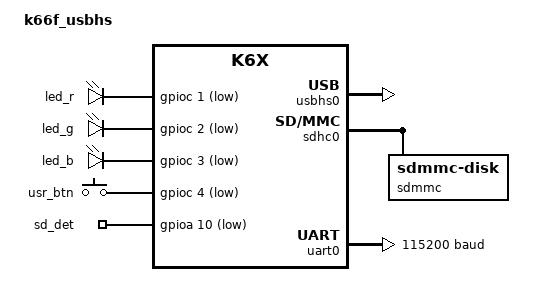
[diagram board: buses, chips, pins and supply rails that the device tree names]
/dts-v1/;

#include <nxp/nxp_k66.dtsi>
#include "k66f_usbhs-pinctrl.dtsi"

/ {
    model = "k66f_usbhs";
    compatible = "nxp,mk66f18", "nxp,k66f", "nxp,k6x";

    chosen {
        zephyr,sram = &sram0;
        zephyr,flash = &flash0;
        zephyr,code-partition = &slot0_partition;
        zephyr,console = &uart0;
    };

    aliases {
        led0 = &led_r;
        led1 = &led_g;
        led2 = &led_b;
        sw0 = &usr_btn;
        mcuboot-led0 = &led_b;
        mcuboot-button0 = &usr_btn;
    };

    leds {
        compatible = "gpio-leds";
        led_r: led_r { gpios = <&gpioc 1 GPIO_ACTIVE_LOW>; };
        led_g: led_g { gpios = <&gpioc 2 GPIO_ACTIVE_LOW>; };
        led_b: led_b { gpios = <&gpioc 3 GPIO_ACTIVE_LOW>; };
    };

    buttons {
        compatible = "gpio-keys";
        usr_btn: usr_btn { gpios = <&gpioc 4  (GPIO_ACTIVE_LOW | GPIO_PULL_UP)>; };
        sd_det:  sd_det  { gpios = <&gpioa 10 (GPIO_ACTIVE_LOW | GPIO_PULL_UP)>; };
    };

    // additions to make USB HS work
    usbclk: usbpll-clock {
        compatible = "fixed-clock";
        clock-frequency = <480000000>;
        #clock-cells = <0>;
    };

    soc {
        usbhs0: usbd@400a1000 { // TODO use usbphy and udc driver added in 3.7.0
            compatible = "nxp,ehci";
            reg = <0x400a1000 0x200>;
            interrupts = <93 1>; // USBHS_IRQn
            interrupt-names = "usb_otg";
            clocks = <&usbclk>;
            num-bidir-endpoints = <8>;
            status = "disabled";
        };

        sdhc0: sdhc@400b1000 {
            compatible = "nxp,mcux-sdhc";
            reg = <0x400b1000 0x100>;
            interrupts = <81 0>; // SDHC_IRQn
            clocks = <&sim KINETIS_SIM_CORESYS_CLK 0x1030 17>; // kCLOCK_Sdhc0
            max-bus-freq = <50000000>;
            status = "disabled";
        };
    };
};

&sim {
    pllfll-select = <KINETIS_SIM_PLLFLLSEL_MCGPLLCLK>;
    er32k-select = <KINETIS_SIM_ER32KSEL_RTC>;
    core_clk    { clock-div = <1>; }; // max 180MHz
    bus_clk     { clock-div = <3>; }; // max 60MHz
    flexbus_clk { clock-div = <3>; }; // max 60MHz
    flash_clk   { clock-div = <7>; }; // max 28MHz
};

&flash0 {
    partitions {
        compatible = "fixed-partitions";
        #address-cells = <1>;
        #size-cells = <1>;

        boot_partition: partition@0 {
            label = "mcuboot";
            reg = <0x00000000 0x00010000>; // 64KiB
            read-only;
        };
        slot0_partition: partition@10000 {
            label = "image-0";
            reg = <0x00010000 0x001f0000>; // 1984KiB
        };
    };
};

&gpioa {
    status = "okay";
};

&gpioc {
    status = "okay";
};

&gpioe {
    status = "okay";
};

&uart0 {
    status = "okay";
    current-speed = <115200>;
    pinctrl-0 = <&uart0_default>;
    pinctrl-names = "default";
};

zephyr_udc0: &usbhs0 {
    status = "okay";
};

&sdhc0 {
    status = "okay";
    pinctrl-0 = <&sdhc0_default>;
    pinctrl-names = "default";
    power-delay-ms = <250>;
    sdmmc {
        compatible = "zephyr,sdmmc-disk";
        status = "okay";
    };
};
